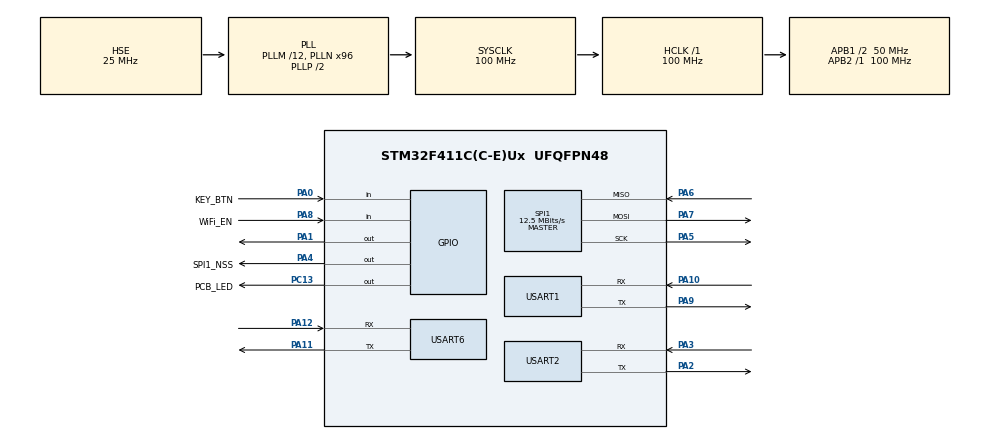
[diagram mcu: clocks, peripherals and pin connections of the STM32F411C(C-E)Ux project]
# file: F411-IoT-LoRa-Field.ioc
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Mcu.Family=STM32F4
Mcu.Name=STM32F411C(C-E)Ux
Mcu.Package=UFQFPN48
NVIC.PriorityGroup=NVIC_PRIORITYGROUP_4
NVIC.TIM2_IRQn=true\:0\:0\:false\:false\:true\:true\:true\:true
NVIC.TIM3_IRQn=true\:0\:0\:false\:false\:true\:true\:true\:true
NVIC.USART1_IRQn=true\:0\:0\:false\:false\:true\:true\:true\:true
NVIC.USART2_IRQn=true\:0\:0\:false\:false\:true\:true\:true\:true
PA0-WKUP.GPIO_Label=KEY_BTN
PA0-WKUP.Signal=GPIO_Input
PA1.GPIO_Speed=GPIO_SPEED_FREQ_VERY_HIGH
PA1.Signal=GPIO_Output
PA10.Mode=Asynchronous
PA10.Signal=USART1_RX
PA11.Mode=Asynchronous
PA11.Signal=USART6_TX
PA12.Mode=Asynchronous
PA12.Signal=USART6_RX
PA13.Mode=Trace_Asynchronous_SW
PA13.Signal=SYS_JTMS-SWDIO
PA14.Mode=Trace_Asynchronous_SW
PA14.Signal=SYS_JTCK-SWCLK
PA2.Mode=Asynchronous
PA2.Signal=USART2_TX
PA3.Mode=Asynchronous
PA3.Signal=USART2_RX
PA4.GPIO_Label=SPI1_NSS
PA4.GPIO_Speed=GPIO_SPEED_FREQ_VERY_HIGH
PA4.PinState=GPIO_PIN_SET
PA4.Signal=GPIO_Output
PA5.Mode=Full_Duplex_Master
PA5.Signal=SPI1_SCK
PA6.Mode=Full_Duplex_Master
PA6.Signal=SPI1_MISO
PA7.Mode=Full_Duplex_Master
PA7.Signal=SPI1_MOSI
PA8.GPIO_Label=WiFi_EN
PA8.Signal=GPIO_Input
PA9.Mode=Asynchronous
PA9.Signal=USART1_TX
PB3.Mode=Trace_Asynchronous_SW
PB3.Signal=SYS_JTDO-SWO
PC13-ANTI_TAMP.GPIO_Label=PCB_LED
PC13-ANTI_TAMP.GPIO_ModeDefaultOutputPP=GPIO_MODE_OUTPUT_PP
PC13-ANTI_TAMP.GPIO_PuPd=GPIO_NOPULL
PC13-ANTI_TAMP.Signal=GPIO_Output
PC14-OSC32_IN.Mode=LSE-External-Oscillator
PC14-OSC32_IN.Signal=RCC_OSC32_IN
PC15-OSC32_OUT.Mode=LSE-External-Oscillator
PC15-OSC32_OUT.Signal=RCC_OSC32_OUT
PH0\ -\ OSC_IN.Mode=HSE-External-Oscillator
PH0\ -\ OSC_IN.Signal=RCC_OSC_IN
PH1\ -\ OSC_OUT.Mode=HSE-External-Oscillator
PH1\ -\ OSC_OUT.Signal=RCC_OSC_OUT
ProjectManager.HeapSize=0x200
ProjectManager.StackSize=0x400
ProjectManager.TargetToolchain=STM32CubeIDE
RCC.48MHZClocksFreq_Value=50000000
RCC.AHBFreq_Value=100000000
RCC.APB1CLKDivider=RCC_HCLK_DIV2
RCC.APB1Freq_Value=50000000
RCC.APB1TimFreq_Value=100000000
RCC.APB2Freq_Value=100000000
RCC.APB2TimFreq_Value=100000000
RCC.CortexFreq_Value=100000000
RCC.HCLKFreq_Value=100000000
RCC.HSE_VALUE=25000000
RCC.HSI_VALUE=16000000
RCC.PLLM=12
RCC.PLLN=96
RCC.PLLSourceVirtual=RCC_PLLSOURCE_HSE
RCC.SYSCLKFreq_VALUE=100000000
RCC.SYSCLKSource=RCC_SYSCLKSOURCE_PLLCLK
RCC.VCOOutputFreq_Value=200000000
SPI1.BaudRatePrescaler=SPI_BAUDRATEPRESCALER_8
SPI1.CalculateBaudRate=12.5 MBits/s
SPI1.Direction=SPI_DIRECTION_2LINES
SPI1.Mode=SPI_MODE_MASTER
SPI1.VirtualType=VM_MASTER
TIM2.AutoReloadPreload=TIM_AUTORELOAD_PRELOAD_ENABLE
TIM2.Channel-Output\ Compare1\ No\ Output=TIM_CHANNEL_1
TIM2.OCMode_1=TIM_OCMODE_INACTIVE
TIM2.Period=100
TIM2.Prescaler=100
TIM3.AutoReloadPreload=TIM_AUTORELOAD_PRELOAD_ENABLE
TIM3.Channel-Output\ Compare1\ No\ Output=TIM_CHANNEL_1
TIM3.OCMode_1=TIM_OCMODE_INACTIVE
TIM3.Period=150
TIM3.Prescaler=100
USART1.VirtualMode=VM_ASYNC
USART2.VirtualMode=VM_ASYNC
USART6.VirtualMode=VM_ASYNC
VP_TIM2_VS_ClockSourceINT.Mode=Internal
VP_TIM2_VS_OPM.Mode=OPM_bit
VP_TIM2_VS_no_output1.Mode=Output Compare1 No Output
VP_TIM3_VS_ClockSourceINT.Mode=Internal
VP_TIM3_VS_OPM.Mode=OPM_bit
VP_TIM3_VS_no_output1.Mode=Output Compare1 No Output
board=custom

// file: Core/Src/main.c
/* USER CODE BEGIN Header */
/**
  ******************************************************************************
  * @file           : main.c
  * @brief          : Main program body
  ******************************************************************************
  * @attention
  *
  * Copyright (c) 2022 STMicroelectronics.
  * All rights reserved.
  *
  * This software is licensed under terms that can be found in the LICENSE file
  * in the root directory of this software component.
  * If no LICENSE file comes with this software, it is provided AS-IS.
  *
  ******************************************************************************
  */
/* USER CODE END Header */
#include "main.h"

/* USER CODE BEGIN Includes */
#include "ESP8266_Chelo.h"
#include "ModBUS_Chelo.h"
#include "STR_Chelo.h"
#include "ETH_W5100.h"
#include "string.h"
#include "stdio.h"
#include "RYLR896.h"
/* USER CODE END Includes */

/* USER CODE BEGIN PTD */
#define TOK 1
#define FIND 0
#define SERVIDOR 1
#define CLIENTE 0
/* USER CODE END PTD */

/* USER CODE BEGIN PM */
#define ITM_Port32(n)   (*((volatile unsigned long *)(0xE0000000+4*n)))
/* USER CODE END PM */

SPI_HandleTypeDef hspi1;
TIM_HandleTypeDef htim2;
TIM_HandleTypeDef htim3;
UART_HandleTypeDef huart1;
UART_HandleTypeDef huart2;
UART_HandleTypeDef huart6;

/* USER CODE BEGIN PV */

struct LoRa lr;
struct MBUS mb_eth;			// Instancia Ethernet
struct MBUS mb_wf;		// Instancia Wi-Fi
struct W5100_SPI ETH; // Instancia de la comunicación Ethernet

uint8_t		decimal[17],
			spi_Data[64],
			spi_no_debug=0,
			EN_UART1_TMR=0,
			EN_UART2_TMR=0,
			EN_USART1_TMR=0,
			FLAG_TIMEOUT=0,
			FLAG_UART1=0,
			FLAG_UART2=0,
			SPI_READ_EN=0,
			UART1_DBG_EN=0,
			UART2_DBG_EN=0,
			error=0;

uint16_t	S0_get_size = 0,
			tx_mem_pointer=0,
			rx_mem_pointer=0,
			send_size=0;

uint32_t 	REG[254],		//Registros para ver ModBUS
	     	ms_ticks=0,
			min_ticks=0;

char		UART_RX_vect[512],
			UART2_RX_vect[512],
			UART_RX_vect_hld[512],
			CMP_VECT[]="\0",
			UART_RX_byte[2],
			UART2_RX_byte[2];

int 		UART_RX_items=0,
			UART2_RX_items=0,
			MB_TOUT_ticks=0,
			uart1pass=0,
			USART1_ticks=0,
			FLAG_USART1=0,
			chr_pos=0,
			items_rx=0,
			UART_RX_pos=0;
			UART2_RX_pos=0,
			ETH_DBG_EN=0;

enum {
		TEPELCO,
		TEST_1,
		TEST_2
};
/* USER CODE END PV */

void SystemClock_Config(void);
static void MX_GPIO_Init(void);
static void MX_SPI1_Init(void);
static void MX_USART1_UART_Init(void);
static void MX_USART2_UART_Init(void);
static void MX_USART6_UART_Init(void);
static void MX_TIM2_Init(void);
static void MX_TIM3_Init(void);
/* USER CODE BEGIN PFP */
	//uint8_t ESP8266_HW_Init(UART_HandleTypeDef *);
	void ESP8266_HW_Reset(void);
	void Actualizar_RXdata(int );

/* USER CODE END PFP */

int main(void)
{
  /* USER CODE BEGIN 1 */
	//----------------------- ETHERNET W5100 Environment-------------------------//
		ETH_DBG_EN=0;
	//	GATEWAY ADDRESS
		ETH.GAR[0]=192;
		ETH.GAR[1]=168;
		ETH.GAR[2]=0;
		ETH.GAR[3]=1;
	//	SUBNET MASK
		ETH.SUBR[0]=255;
		ETH.SUBR[1]=255;
		ETH.SUBR[2]=255;
		ETH.SUBR[3]=0;
	//	MAC ADDRESS
		ETH.SHAR[0]=0x00;
		ETH.SHAR[1]=0x08;
		ETH.SHAR[2]=0xDC;
		ETH.SHAR[3]=0x00;
		ETH.SHAR[4]=0x00;
		ETH.SHAR[5]=0x01;

	//	IP ADDRESS
		ETH.SIPR[0]=192;
		ETH.SIPR[1]=168;
		ETH.SIPR[2]=0;
		ETH.SIPR[3]=6,//ETH.SIPR[3]=34,
	//  Socket RX memory
		ETH.RMSR=0x55;
	//  Socket TX memory

		ETH.TMSR=0x55;
	//  S0 Port Number
		ETH.S0_PORT[0]=0x01;
		ETH.S0_PORT[1]=0xF6;
	//	S0 Client IP ADDRESS
		ETH.S0_DIPR[0]=192;
		ETH.S0_DIPR[1]=168;
		ETH.S0_DIPR[2]=0;
		ETH.S0_DIPR[3]=3;
	//	S0 Client IP ADDRESS
		ETH.S0_DPORT[0]=0x01;
		ETH.S0_DPORT[1]=0xF6;

		ETH.gS0_RX_BASE = 0x6000;
		ETH.gS0_RX_MASK = 0x07FF;
		ETH.gS1_RX_BASE = 0x6800;
		ETH.gS1_RX_MASK = 0x07FF;
		ETH.gS2_RX_BASE = 0x7000;
		ETH.gS2_RX_MASK = 0x07FF;
		ETH.gS3_RX_BASE = 0x7800;
		ETH.gS3_RX_MASK = 0x07FF;
		ETH.gS0_TX_BASE = 0x4000;
		ETH.gS0_TX_MASK = 0x07FF;
		ETH.gS1_TX_BASE = 0x4800;
		ETH.gS1_TX_MASK = 0x07FF;
		ETH.gS2_TX_BASE = 0x5000;
		ETH.gS2_TX_MASK = 0x07FF;
		ETH.gS3_TX_BASE = 0x5800;
		ETH.gS3_TX_MASK = 0x07FF;

		ETH.S0_ENserver = 0;			//Actúa como servidor S0_ENserver=1 o cliente S0_ENserver=0

		//----------------------- ETHERNET W5100 Environment-------------------------//
	  //----------------------- LoRa ------------------------//

	  //----------------------- LoRa ------------------------//

	  //----------------------- WIFI ------------------------//

		spi_no_debug=1;
		ETH.NSS_PORT=GPIOA;
		ETH.NSS_PIN=GPIO_PIN_4;
		ETH.SPI= &hspi1;

		// ----------- FIN - Seteo de módulo Ethernet W5100 ----------- //

		 //----------------------- WIFI ------------------------//
			decimal[0]=1;
			decimal[1]=1;
			decimal[2]=1;
			decimal[3]=0;
			decimal[4]=1;
			decimal[5]=1;
			decimal[6]=1;
			decimal[7]=1;
			decimal[8]=1;
			decimal[9]=1;
			decimal[10]=1;
			decimal[11]=1;
			decimal[12]=1;
			decimal[13]=1;
			decimal[14]=1;
			decimal[15]=1;
			decimal[16]=1;
	 //----------------------- WIFI ------------------------//

	 //---------------------- ModBUS -----------------------//

		ModBUS_Config(&mb_eth);		//ETHERNET como cliente TCP envía  ModBUS
		mb_eth._mode = CLIENTE;
		ModBUS_Config(&mb_wf);	//WIFI como servidor TCP, recibe comadno ModBUS
		mb_wf._mode = CLIENTE;
		ModBUS_F03_Assign(&mb_wf,3,0xAA55);

	 //---------------------- ModBUS -----------------------//
  /* USER CODE END 1 */

  /* MCU Configuration--------------------------------------------------------*/

  /* Reset of all peripherals, Initializes the Flash interface and the Systick. */
  HAL_Init();

  /* Configure the system clock */
  SystemClock_Config();

  /* USER CODE BEGIN SysInit */
  SysTick_Config(SystemCoreClock/1000);
  /* USER CODE END SysInit */

  /* Initialize all configured peripherals */
  MX_GPIO_Init();
  MX_SPI1_Init();
  MX_USART1_UART_Init();
  MX_USART2_UART_Init();
  MX_USART6_UART_Init();
  MX_TIM2_Init();
  MX_TIM3_Init();
  /* USER CODE BEGIN 2 */

  HAL_GPIO_WritePin(GPIOA, GPIO_PIN_1, 0);
  ITM0_Write("\r\n INICIO OK\r\n",strlen("\r\n INICIO OK\r\n"));
     HAL_UART_Receive_IT(&huart1,(uint8_t *)UART_RX_byte,1);
     HAL_UART_Receive_IT(&huart2,(uint8_t *)UART2_RX_byte,1);
     if (ETH_DBG_EN == 1)ITM0_Write("\r\n SET-UP W5100 \r\n",strlen("\r\n SET-UP W5100 \r\n"));

   	 ETH.operacion=SPI_WRITE;
   	 ETH.TX[1]= 0;
   	 ETH.TX[2]= 1;
   	 ETH.TX[3]= 192;

   	 eth_init(&ETH);

   	 eth_socket_init(&ETH,0);

   SPI_READ_EN=1;
   ETH.operacion=SPI_READ;
   ETH.TX[1]= 0;
   ETH.TX[2]= 1;
   ETH.TX[3]= 0;
     HAL_Delay(1000);
     LoRa_set_sndTIMER(&lr,5000); //Inicio el ciclo de envíos

  /* USER CODE END 2 */

  /* Infinite loop */
  while (1)
  {

    /* USER CODE BEGIN 3 */

// AGREGAR TIMER EN MS TICKS PARA HABILITAR ESTADO Y CUENTA TODOS EN EL STRUCT
	  		if((FLAG_UART2 == 1)||(lr.tmr_dly_ON==1))  //Evento de dato recibido LoRA debo verificar que es
	  		{
	  			if(FLAG_UART2==1)
	  				{
	  				FLAG_UART2=0;
	  				LoRa_decode(&lr);
	  				}

	  			if(lr.tmr_dly_ON==1)
	  				{
	  					lr.tmr_dly_ON=0;
	  					LoRa_set_sndTIMER(&lr,5000);  //Vuelvo a enviar cada 5 seg
						lr.dest_address[0]='\0';
						lr.txbuff[0]='\0';

		  				lr.estado=_SENT;

		  				//Define address to send
		  				strncat(lr.dest_address,"1",1);
		  				//generate data to send
		  				char data[6];
		  				int n=0;
		  				while(n<16)//while(n<11)
		  					{
			  					data[0]='\0';
			  					//itoa(ModBUS_F03_Read(&mb_eth,n),data,10);
			  					FTOA(ModBUS_F03_Read(&mb_eth,n),data,decimal[n]);
								strncat(lr.txbuff,data,strlen(data));
								strncat(lr.txbuff,";",1);
								n++;
		  					}
		  				lr.txitems=strlen(lr.txbuff);
			  			error=LoRa_Send(&lr,&huart2);
	  				}

	  		}

  }
  /* USER CODE END 3 */
}

void SystemClock_Config(void)
{
  RCC_OscInitTypeDef RCC_OscInitStruct = {0};
  RCC_ClkInitTypeDef RCC_ClkInitStruct = {0};

  /** Configure the main internal regulator output voltage
  */
  __HAL_RCC_PWR_CLK_ENABLE();
  __HAL_PWR_VOLTAGESCALING_CONFIG(PWR_REGULATOR_VOLTAGE_SCALE1);

  /** Initializes the RCC Oscillators according to the specified parameters
  * in the RCC_OscInitTypeDef structure.
  */
  RCC_OscInitStruct.OscillatorType = RCC_OSCILLATORTYPE_HSE;
  RCC_OscInitStruct.HSEState = RCC_HSE_ON;
  RCC_OscInitStruct.PLL.PLLState = RCC_PLL_ON;
  RCC_OscInitStruct.PLL.PLLSource = RCC_PLLSOURCE_HSE;
  RCC_OscInitStruct.PLL.PLLM = 12;
  RCC_OscInitStruct.PLL.PLLN = 96;
  RCC_OscInitStruct.PLL.PLLP = RCC_PLLP_DIV2;
  RCC_OscInitStruct.PLL.PLLQ = 4;
  if (HAL_RCC_OscConfig(&RCC_OscInitStruct) != HAL_OK)
  {
    Error_Handler();
  }

  /** Initializes the CPU, AHB and APB buses clocks
  */
  RCC_ClkInitStruct.ClockType = RCC_CLOCKTYPE_HCLK|RCC_CLOCKTYPE_SYSCLK
                              |RCC_CLOCKTYPE_PCLK1|RCC_CLOCKTYPE_PCLK2;
  RCC_ClkInitStruct.SYSCLKSource = RCC_SYSCLKSOURCE_PLLCLK;
  RCC_ClkInitStruct.AHBCLKDivider = RCC_SYSCLK_DIV1;
  RCC_ClkInitStruct.APB1CLKDivider = RCC_HCLK_DIV2;
  RCC_ClkInitStruct.APB2CLKDivider = RCC_HCLK_DIV1;

  if (HAL_RCC_ClockConfig(&RCC_ClkInitStruct, FLASH_LATENCY_3) != HAL_OK)
  {
    Error_Handler();
  }
}

static void MX_SPI1_Init(void)
{

  /* SPI1 parameter configuration*/
  hspi1.Instance = SPI1;
  hspi1.Init.Mode = SPI_MODE_MASTER;
  hspi1.Init.Direction = SPI_DIRECTION_2LINES;
  hspi1.Init.DataSize = SPI_DATASIZE_8BIT;
  hspi1.Init.CLKPolarity = SPI_POLARITY_LOW;
  hspi1.Init.CLKPhase = SPI_PHASE_1EDGE;
  hspi1.Init.NSS = SPI_NSS_SOFT;
  hspi1.Init.BaudRatePrescaler = SPI_BAUDRATEPRESCALER_8;
  hspi1.Init.FirstBit = SPI_FIRSTBIT_MSB;
  hspi1.Init.TIMode = SPI_TIMODE_DISABLE;
  hspi1.Init.CRCCalculation = SPI_CRCCALCULATION_DISABLE;
  hspi1.Init.CRCPolynomial = 10;
  if (HAL_SPI_Init(&hspi1) != HAL_OK)
  {
    Error_Handler();
  }

}

static void MX_TIM2_Init(void)
{

  TIM_ClockConfigTypeDef sClockSourceConfig = {0};
  TIM_MasterConfigTypeDef sMasterConfig = {0};
  TIM_OC_InitTypeDef sConfigOC = {0};

  htim2.Instance = TIM2;
  htim2.Init.Prescaler = 100;
  htim2.Init.CounterMode = TIM_COUNTERMODE_UP;
  htim2.Init.Period = 100;
  htim2.Init.ClockDivision = TIM_CLOCKDIVISION_DIV1;
  htim2.Init.AutoReloadPreload = TIM_AUTORELOAD_PRELOAD_ENABLE;
  if (HAL_TIM_Base_Init(&htim2) != HAL_OK)
  {
    Error_Handler();
  }
  sClockSourceConfig.ClockSource = TIM_CLOCKSOURCE_INTERNAL;
  if (HAL_TIM_ConfigClockSource(&htim2, &sClockSourceConfig) != HAL_OK)
  {
    Error_Handler();
  }
  if (HAL_TIM_OC_Init(&htim2) != HAL_OK)
  {
    Error_Handler();
  }
  if (HAL_TIM_OnePulse_Init(&htim2, TIM_OPMODE_SINGLE) != HAL_OK)
  {
    Error_Handler();
  }
  sMasterConfig.MasterOutputTrigger = TIM_TRGO_RESET;
  sMasterConfig.MasterSlaveMode = TIM_MASTERSLAVEMODE_DISABLE;
  if (HAL_TIMEx_MasterConfigSynchronization(&htim2, &sMasterConfig) != HAL_OK)
  {
    Error_Handler();
  }
  sConfigOC.OCMode = TIM_OCMODE_INACTIVE;
  sConfigOC.Pulse = 0;
  sConfigOC.OCPolarity = TIM_OCPOLARITY_HIGH;
  sConfigOC.OCFastMode = TIM_OCFAST_DISABLE;
  if (HAL_TIM_OC_ConfigChannel(&htim2, &sConfigOC, TIM_CHANNEL_1) != HAL_OK)
  {
    Error_Handler();
  }

}

static void MX_TIM3_Init(void)
{

  TIM_ClockConfigTypeDef sClockSourceConfig = {0};
  TIM_MasterConfigTypeDef sMasterConfig = {0};
  TIM_OC_InitTypeDef sConfigOC = {0};

  htim3.Instance = TIM3;
  htim3.Init.Prescaler = 100;
  htim3.Init.CounterMode = TIM_COUNTERMODE_UP;
  htim3.Init.Period = 150;
  htim3.Init.ClockDivision = TIM_CLOCKDIVISION_DIV1;
  htim3.Init.AutoReloadPreload = TIM_AUTORELOAD_PRELOAD_ENABLE;
  if (HAL_TIM_Base_Init(&htim3) != HAL_OK)
  {
    Error_Handler();
  }
  sClockSourceConfig.ClockSource = TIM_CLOCKSOURCE_INTERNAL;
  if (HAL_TIM_ConfigClockSource(&htim3, &sClockSourceConfig) != HAL_OK)
  {
    Error_Handler();
  }
  if (HAL_TIM_OC_Init(&htim3) != HAL_OK)
  {
    Error_Handler();
  }
  if (HAL_TIM_OnePulse_Init(&htim3, TIM_OPMODE_SINGLE) != HAL_OK)
  {
    Error_Handler();
  }
  sMasterConfig.MasterOutputTrigger = TIM_TRGO_RESET;
  sMasterConfig.MasterSlaveMode = TIM_MASTERSLAVEMODE_DISABLE;
  if (HAL_TIMEx_MasterConfigSynchronization(&htim3, &sMasterConfig) != HAL_OK)
  {
    Error_Handler();
  }
  sConfigOC.OCMode = TIM_OCMODE_INACTIVE;
  sConfigOC.Pulse = 0;
  sConfigOC.OCPolarity = TIM_OCPOLARITY_HIGH;
  sConfigOC.OCFastMode = TIM_OCFAST_DISABLE;
  if (HAL_TIM_OC_ConfigChannel(&htim3, &sConfigOC, TIM_CHANNEL_1) != HAL_OK)
  {
    Error_Handler();
  }

}

static void MX_USART1_UART_Init(void)
{

  huart1.Instance = USART1;
  huart1.Init.BaudRate = 115200;
  huart1.Init.WordLength = UART_WORDLENGTH_8B;
  huart1.Init.StopBits = UART_STOPBITS_1;
  huart1.Init.Parity = UART_PARITY_NONE;
  huart1.Init.Mode = UART_MODE_TX_RX;
  huart1.Init.HwFlowCtl = UART_HWCONTROL_NONE;
  huart1.Init.OverSampling = UART_OVERSAMPLING_16;
  if (HAL_UART_Init(&huart1) != HAL_OK)
  {
    Error_Handler();
  }

}

static void MX_USART2_UART_Init(void)
{

  huart2.Instance = USART2;
  huart2.Init.BaudRate = 115200;
  huart2.Init.WordLength = UART_WORDLENGTH_8B;
  huart2.Init.StopBits = UART_STOPBITS_1;
  huart2.Init.Parity = UART_PARITY_NONE;
  huart2.Init.Mode = UART_MODE_TX_RX;
  huart2.Init.HwFlowCtl = UART_HWCONTROL_NONE;
  huart2.Init.OverSampling = UART_OVERSAMPLING_16;
  if (HAL_UART_Init(&huart2) != HAL_OK)
  {
    Error_Handler();
  }

}

static void MX_USART6_UART_Init(void)
{

  huart6.Instance = USART6;
  huart6.Init.BaudRate = 115200;
  huart6.Init.WordLength = UART_WORDLENGTH_8B;
  huart6.Init.StopBits = UART_STOPBITS_1;
  huart6.Init.Parity = UART_PARITY_NONE;
  huart6.Init.Mode = UART_MODE_TX_RX;
  huart6.Init.HwFlowCtl = UART_HWCONTROL_NONE;
  huart6.Init.OverSampling = UART_OVERSAMPLING_16;
  if (HAL_UART_Init(&huart6) != HAL_OK)
  {
    Error_Handler();
  }

}

static void MX_GPIO_Init(void)
{
  GPIO_InitTypeDef GPIO_InitStruct = {0};

  /* GPIO Ports Clock Enable */
  __HAL_RCC_GPIOC_CLK_ENABLE();
  __HAL_RCC_GPIOH_CLK_ENABLE();
  __HAL_RCC_GPIOA_CLK_ENABLE();
  __HAL_RCC_GPIOB_CLK_ENABLE();

  /*Configure GPIO pin Output Level */
  HAL_GPIO_WritePin(PCB_LED_GPIO_Port, PCB_LED_Pin, GPIO_PIN_RESET);

  /*Configure GPIO pin Output Level */
  HAL_GPIO_WritePin(GPIOA, GPIO_PIN_1, GPIO_PIN_RESET);

  /*Configure GPIO pin Output Level */
  HAL_GPIO_WritePin(SPI1_NSS_GPIO_Port, SPI1_NSS_Pin, GPIO_PIN_SET);

  /*Configure GPIO pin : PCB_LED_Pin */
  GPIO_InitStruct.Pin = PCB_LED_Pin;
  GPIO_InitStruct.Mode = GPIO_MODE_OUTPUT_PP;
  GPIO_InitStruct.Pull = GPIO_NOPULL;
  GPIO_InitStruct.Speed = GPIO_SPEED_FREQ_LOW;
  HAL_GPIO_Init(PCB_LED_GPIO_Port, &GPIO_InitStruct);

  /*Configure GPIO pins : KEY_BTN_Pin WiFi_EN_Pin */
  GPIO_InitStruct.Pin = KEY_BTN_Pin|WiFi_EN_Pin;
  GPIO_InitStruct.Mode = GPIO_MODE_INPUT;
  GPIO_InitStruct.Pull = GPIO_NOPULL;
  HAL_GPIO_Init(GPIOA, &GPIO_InitStruct);

  /*Configure GPIO pins : PA1 SPI1_NSS_Pin */
  GPIO_InitStruct.Pin = GPIO_PIN_1|SPI1_NSS_Pin;
  GPIO_InitStruct.Mode = GPIO_MODE_OUTPUT_PP;
  GPIO_InitStruct.Pull = GPIO_NOPULL;
  GPIO_InitStruct.Speed = GPIO_SPEED_FREQ_VERY_HIGH;
  HAL_GPIO_Init(GPIOA, &GPIO_InitStruct);

}

/* USER CODE BEGIN 4 */

int ITM0_Write( char *ptr, int len)
{
 int DataIdx;

  for(DataIdx=0; DataIdx<len; DataIdx++)
  {
    ITM_SendChar(*ptr++);
  }
  return len;
}

void SysTick_Handler(void)
{
  /* USER CODE BEGIN SysTick_IRQn 0 */

	ms_ticks++;	//100 ms

	if(mb_eth._w_answer) MB_TOUT_ticks++;
	if ( mb_eth._w_answer && (mb_eth._timeout < MB_TOUT_ticks))
		{
			mb_eth._w_answer=0;
			MB_TOUT_ticks=0;
		}

// ENVIO DATOS LoRa ---------------------------------------------------------------//

	if(lr.tmr_dly_en==1)
	{
		lr.tmr_dlyCNT++;
		if(lr.tmr_dlyCNT > lr.tmr_dly)
		{
			lr.tmr_dly_ON=1;
			lr.tmr_dly_en=0;
		}
	}
// ENVIO DATOS LoRa ---------------------------------------------------------------//

/**********************[ INICIO - EHTERNET WDG ] **********************/

	if(ETH.S0_status == 0)
	{
		ETH.ETH_WDG++;
		if (ETH.ETH_WDG>=64000)
		{
			ETH.ETH_WDG=64000;
		}
	}

/**********************[ FIN 	- EHTERNET WDG ] **********************/

if (ms_ticks==100)//(ms_ticks==250)//(ms_ticks==50)
  {
	  ms_ticks=0;
	  min_ticks++;
	  HAL_GPIO_TogglePin(GPIOC, GPIO_PIN_13);
	  if(spi_no_debug)
	  	  {
	  if(SPI_READ_EN)
	  {
	     ETH.S0_status=eth_rd_SOCKET_STAT(&ETH,0);

		  switch(ETH.S0_status)	//Check Socket status
	     {
			 case SOCK_CLOSED :
				 {
					 if (ETH_DBG_EN) ITM0_Write("\r\nS0_SOCK_CLOSED \r\n",strlen("\r\nS0_SOCK_CLOSED \r\n"));
					eth_wr_SOCKET_CMD(&ETH, 0 ,OPEN );
					 // Si no tengo intento de ARP por 5 segundos vuelvo a inicializar
					 if(ETH.ETH_WDG>=5000)
					 {
						 eth_init(&ETH);

						 eth_socket_init(&ETH,0);
					 }

				 }
			 break;
			 case  SOCK_INIT :
				 {
					 if(ETH.S0_ENserver == 1)
					 {
						 if (ETH_DBG_EN) ITM0_Write("\r\nS0_SOCK_INIT \r\n",strlen("\r\nS0_SOCK_INIT \r\n"));
							eth_wr_SOCKET_CMD(&ETH, 0, LISTEN );
							ETH.ETH_WDG=0;
					 }
					 else
					 {
						 	eth_wr_SOCKET_CMD(&ETH,0, CONNECT);																				//only for server
						 	if (ETH_DBG_EN)ITM0_Write("\r\nETH-W5100-CONNECT\r\n",strlen("\r\nETH-W5100-CONNECT\r\n"));
						 	ETH.ETH_WDG=0;
					 }

				 }
			 break;
			 case SOCK_LISTEN :
				 {
					 if (ETH_DBG_EN)ITM0_Write("\r\nS0_SOCK_LISTEN \r\n",strlen("\r\nS0_SOCK_LISTEN \r\n"));
					 ETH.ETH_WDG=0;
				 }
			 break;
			 case SOCK_SYNSENT :
				 {
					 if (ETH_DBG_EN)ITM0_Write("\r\nS0_SOCK_SYNSENT \r\n",strlen("\r\nS0_SOCK_SYNSENT \r\n"));
					 ETH.ETH_WDG=0;
				 }
			 break;
			 case SOCK_SYNRECV :
				 {
					 if (ETH_DBG_EN)ITM0_Write("\r\nS0_SOCK_SYNRECV \r\n",strlen("\r\nS0_SOCK_SYNRECV \r\n"));
					 ETH.ETH_WDG=0;
				 }
			 break;
			 case SOCK_ESTABLISHED :
				 {
					 if (ETH_DBG_EN==1) ITM0_Write("\r\nS0_SOCK_ESTABLISHED \r\n",strlen("\r\nS0_SOCK_ESTABLISHED \r\n"));
					 ETH.ETH_WDG=0;

					if (ETH.S0_ENserver == 1)  // Si el puerto Ethernet actúa como server (Recibe datos conexión mas pedido mbus
					{

							S0_get_size = SPI_ETH_REG(&ETH, S0_RX_SZ_ADDR_BASEHH,S0_RX_SZ_ADDR_BASEHL ,SPI_READ, spi_Data,2);
							if(S0_get_size != 0x00)
							{
								eth_rd_SOCKET_DATA(&ETH,0,&rx_mem_pointer,S0_get_size); // read socket data
								SPI_ETH_WR_REG_16(&ETH,S0_RX_RD0,rx_mem_pointer );		// write rx memory pointer
								eth_wr_SOCKET_CMD(&ETH,0,RECV);							// write command to execute
								while(eth_rd_SOCKET_CMD(&ETH,0))						// wait until end of command execution
								{}

								CopiaVector(mb_eth._MBUS_RCVD, ETH.data, S0_get_size, 0, 0 );
								mb_eth._n_MBUS_RCVD=S0_get_size;

								if(S0_get_size > 0)	{ ETH.S0_data_available=1;}					//Flag data received

								if(ModBUS_Check(mb_eth._MBUS_RCVD, mb_eth._n_MBUS_RCVD))		//Ckecks ModBUS type data
								{
									ModBUS(&mb_eth);										//ModBUS protocol execution
									CopiaVector(ETH.data, mb_eth._MBUS_2SND, mb_eth._n_MBUS_2SND, 0, 0);
								}
								else
								{
									if (ETH_DBG_EN) ITM0_Write("\r\n NO MBUS \r\n",strlen("\r\n\r\n NO MBUS \r\n\r\n"));
								}

								send_size=mb_eth._n_MBUS_2SND;  //ModBUS data qty

								eth_wr_SOCKET_DATA(&ETH,0, &tx_mem_pointer, send_size);	// write socket data
								SPI_ETH_WR_REG_16(&ETH,0x424,tx_mem_pointer);			// write tx memory pointer
								eth_wr_SOCKET_CMD(&ETH,0,SEND);							// write command to execute
								while(eth_rd_SOCKET_CMD(&ETH,0))						// wait until end of command execution
								{}

							}
					}
					else	// Puerto ethernet labura como esclavo, se conecta al server para pedir datos
					{

						if (mb_eth._w_answer==0)
						{
							//Si ya envié vuelvo a enviar

							ETH.data[0]=0x00;
							ETH.data[1]=0x00;
							ETH.data[2]=0x00;
							ETH.data[3]=0x00;
							ETH.data[4]=0x00;
							ETH.data[5]=0x06;
							ETH.data[6]=0x01;
							ETH.data[7]=0x03;
							ETH.data[8]=0x00;
							ETH.data[9]=0x00;
							ETH.data[10]=0x00;
							ETH.data[11]=0x0A;
							send_size=12;

							ModBUS_F03_Request(&mb_eth,0,15);
							CopiaVector(ETH.data, mb_eth._MBUS_2SND, 12, 0, 0 );

							eth_wr_SOCKET_DATA(&ETH,0, &tx_mem_pointer, send_size);	// write socket data
							SPI_ETH_WR_REG_16(&ETH,0x424,tx_mem_pointer);			// write tx memory pointer
							eth_wr_SOCKET_CMD(&ETH,0,SEND);							// write command to execute
							while(eth_rd_SOCKET_CMD(&ETH,0))						// wait until end of command execution
							{}
							mb_eth._w_answer=1;	// Waiting answer flag
							MB_TOUT_ticks=0;	// restart counting
							if (ETH_DBG_EN==1) ITM0_Write("\r\n SENT MBUS REQ \r\n",strlen("\r\n\r\n SENT MBUS REQ \r\n\r\n"));
						}
						else
						{
						S0_get_size = SPI_ETH_REG(&ETH, S0_RX_SZ_ADDR_BASEHH,S0_RX_SZ_ADDR_BASEHL ,SPI_READ, spi_Data,2);
							if(S0_get_size != 0x00)
							{
								eth_rd_SOCKET_DATA(&ETH,0,&rx_mem_pointer,S0_get_size); // read socket data
								SPI_ETH_WR_REG_16(&ETH,S0_RX_RD0,rx_mem_pointer );		// write rx memory pointer
								eth_wr_SOCKET_CMD(&ETH,0,RECV);							// write command to execute
								while(eth_rd_SOCKET_CMD(&ETH,0))						// wait until end of command execution
								{}

								CopiaVector(mb_eth._MBUS_RCVD, ETH.data, S0_get_size, 0, 0 );
								mb_eth._n_MBUS_RCVD=S0_get_size;

								if(S0_get_size > 0)	{ ETH.S0_data_available=1;}

								if(ModBUS_Check(mb_eth._MBUS_RCVD, mb_eth._n_MBUS_RCVD))		//Ckecks ModBUS type data
									{
										mb_eth._w_answer=0;  									//Si el mensaje recibido ya es modbus digo que ya recibi
										MB_TOUT_ticks=0;
										ModBUS(&mb_eth);										//ModBUS protocol execution
										CopiaVector(ETH.swap, mb_eth._MBUS_RCVD, mb_eth._n_MBUS_RCVD, 0, 0);
										CopiaVector(mb_wf._Holding_Registers, mb_eth._Holding_Registers, 64, 0, 0);
										if (ETH_DBG_EN==1) ITM0_Write("\r\n RCVD MBUS REQ \r\n",strlen("\r\n\r\n RCVD MBUS REQ \r\n\r\n"));
									}
									else
										{
										if (ETH_DBG_EN) ITM0_Write("\r\n NO MBUS \r\n",strlen("\r\n\r\n NO MBUS \r\n\r\n"));
										}
							}
						}
					}
				 }
			 break;
			 case SOCK_FIN_WAIT :
				 {
					 if (ETH_DBG_EN) ITM0_Write("\r\nS0_SOCK_FIN_WAIT \r\n",strlen("\r\nS0_SOCK_FIN_WAIT \r\n"));
					 ETH.ETH_WDG=0;
				 }
			 break;
			 case SOCK_CLOSING :
				 {
					 if (ETH_DBG_EN) ITM0_Write("\r\nS0_SOCK_CLOSING \r\n",strlen("\r\nS0_SOCK_CLOSING \r\n"));
					 ETH.ETH_WDG=0;
				 }
			 break;
			 case  SOCK_TIME_WAIT :
				 {
					 if (ETH_DBG_EN) ITM0_Write("\r\nS0_SOCK_TIME_WAIT \r\n",strlen("\r\nS0_SOCK_TIME_WAIT \r\n"));
					eth_wr_SOCKET_CMD(&ETH,0, DISCON );
					while( SPI_ETH_REG(&ETH, S0_CR_ADDR_BASEH,S0_CR_ADDR_BASEL ,SPI_READ, spi_Data,1))
					{}
					ETH.ETH_WDG=0;
				 }
			 break;
			 case SOCK_CLOSE_WAIT :
				 {
					 if (ETH_DBG_EN) ITM0_Write("\r\nS0_SOCK_CLOSE_WAIT \r\n",strlen("\r\nS0_SOCK_CLOSE_WAIT \r\n"));
					eth_wr_SOCKET_CMD(&ETH,0,DISCON );
					while( SPI_ETH_REG(&ETH, S0_CR_ADDR_BASEH,S0_CR_ADDR_BASEL ,SPI_READ, spi_Data,1))
					{}
					ETH.ETH_WDG=0;
				 }
			 break;
			 case SOCK_LAST_ACK :
				 {
					 if (ETH_DBG_EN) ITM0_Write("\r\nS0_SOCK_LAST_ACK \r\n",strlen("\r\nS0_SOCK_LAST_ACK \r\n"));
					 ETH.ETH_WDG=0;
				 }
			 break;
			 case SOCK_UDP :
				 {
					 if (ETH_DBG_EN) ITM0_Write("\r\nS0_SOCK_UDP \r\n",strlen("\r\nS0_SOCK_UDP \r\n"));
					 ETH.ETH_WDG=0;
				 }
			 break;
			 case  SOCK_IPRAW :
				 {
					 if (ETH_DBG_EN) ITM0_Write("\r\nS0_SOCK_IPRAW \r\n",strlen("\r\nS0_SOCK_IPRAW \r\n"));
					 ETH.ETH_WDG=0;
				 }
			 break;
			 case  SOCK_MACRAW :
				 {
					 if (ETH_DBG_EN) ITM0_Write("\r\nS0_SOCK_MACRAW \r\n",strlen("\r\nS0_SOCK_MACRAW \r\n"));
					 ETH.ETH_WDG=0;
				 }
			 break;
			 case SOCK_PPOE :
				 {
					 if (ETH_DBG_EN) ITM0_Write("\r\nS0_SOCK_PPOE \r\n",strlen("\r\nS0_SOCK_PPOE \r\n"));
					 ETH.ETH_WDG=0;
				 }
			 break;

			 default:
				 {

				 }
	     }
	  }
	  }else
	  	  {

		  SPI_ETH(&ETH);
	  	  }
	  if(min_ticks==2)//if(min_ticks==10)
		  {
		  	  min_ticks=0;  /* SETEO CADA 2 min*/
		  }
  }

	if(EN_USART1_TMR==1) USART1_ticks++;

	if(USART1_ticks>=2)//if(USART1_ticks>=10)
	{
		USART1_ticks=0;
		FLAG_USART1=1;
		EN_USART1_TMR=0;
		items_rx=uart1pass;
		uart1pass=0;
	}

  /* USER CODE END SysTick_IRQn 0 */
  HAL_IncTick();
  /* USER CODE BEGIN SysTick_IRQn 1 */

  /* USER CODE END SysTick_IRQn 1 */
}
void HAL_UART_ErrorCallback(UART_HandleTypeDef *ERRUART)

{
	if(ERRUART->Instance==USART1)
	{
		 volatile int aore=0;
		 volatile int bore=0;

		//Al leer los registros de esta forma SR y luego DR se resetean los errores de Framing Noise y Overrun FE NE ORE
		 aore=ERRUART->Instance->SR;
		 bore=ERRUART->Instance->DR;
		 HAL_UART_DeInit(ERRUART);
		 MX_USART1_UART_Init();
		 HAL_UART_Receive_IT(ERRUART,(uint8_t *)UART_RX_byte,1);
	}
	if(ERRUART->Instance==USART2)
	{
		 volatile int aore=0;
		 volatile int bore=0;
		//Al leer los registros de esta forma SR y luego DR se resetean los errores de Framing Noise y Overrun FE NE ORE
			aore=ERRUART->Instance->SR;
			bore=ERRUART->Instance->DR;

		//HAL_UART_Transmit_IT(&huart5,"U4",strlen("U4"));
		 HAL_UART_DeInit(ERRUART);
		 MX_USART2_UART_Init();
		 HAL_UART_Receive_IT(ERRUART,(uint8_t *)UART_RX_byte,1);
	}
}

void HAL_UART_RxCpltCallback(UART_HandleTypeDef *INTSERIE)
{

// WiFi	USART 1 TIMER2
	if(INTSERIE->Instance==USART1)
		 {
			UART_RX_vect[UART_RX_pos]=UART_RX_byte[0];
			UART_RX_pos++;
			if(UART_RX_pos>=512) UART_RX_pos=512;
			HAL_TIM_OC_Start_IT(&htim2, TIM_CHANNEL_1);//HAL_TIM_Base_Start_IT(&htim7);	//Habilito el timer
			TIM2->CNT=1;
			EN_UART1_TMR=1;	//Habilito Timeout de software
			HAL_UART_Receive_IT(INTSERIE,(uint8_t *)UART_RX_byte,1);
		 }
// LoRa USART2 TIMER3
	if(INTSERIE->Instance==USART2)
		 {
			UART2_RX_vect[UART2_RX_pos]=UART2_RX_byte[0];
			UART2_RX_pos++;
			if(UART2_RX_pos>=512) UART2_RX_pos=512;
			HAL_GPIO_WritePin(GPIOA, GPIO_PIN_1, 1);
			HAL_TIM_OC_Start_IT(&htim3, TIM_CHANNEL_1);//HAL_TIM_Base_Start_IT(&htim7);	//Habilito el timer
			TIM3->CNT=1;
			EN_UART2_TMR=1;	//Habilito Timeout de software
			HAL_UART_Receive_IT(INTSERIE,(uint8_t *)UART2_RX_byte,1);
		 }
 }

void HAL_TIM_OC_DelayElapsedCallback(TIM_HandleTypeDef *TIMER)
{
// WiFi	USART 1 TIMER2
		//void HAL_TIM_OC_DelayElapsedCallback(TIM_HandleTypeDef *htim2)
		if(TIMER->Instance==TIM2)
			{
				 HAL_TIM_OC_Stop_IT(TIMER, TIM_CHANNEL_1); //Paro el timer
				 FLAG_UART1=1;
				 EN_UART1_TMR=0;
				 UART_RX_items=UART_RX_pos;
				 UART_RX_pos=0;
				 UART_RX_vect[512]='\0'; //Finalizo el vector a la fuerza ya que recibo hasta 124
				 CopiaVector(UART_RX_vect_hld,UART_RX_vect,UART_RX_items,1,CMP_VECT);
				 HAL_UART_Receive_IT(&huart1,(uint8_t *)UART_RX_byte,1); //Habilito le recepcón de puerto serie al terminar
				 if (UART1_DBG_EN==1)
				 {
					 ITM0_Write((uint8_t *)UART_RX_vect_hld,UART_RX_items);
				 }
		}
// LoRa USART2 TIMER3
		//void HAL_TIM_OC_DelayElapsedCallback(TIM_HandleTypeDef *htim2)
		if(TIMER->Instance==TIM3)
			{
				 HAL_TIM_OC_Stop_IT(TIMER, TIM_CHANNEL_1); //Paro el timer
				 HAL_GPIO_WritePin(GPIOA, GPIO_PIN_1, 0);
				 FLAG_UART2=1;
				 EN_UART2_TMR=0;
				 UART2_RX_items=UART2_RX_pos;
				 UART2_RX_pos=0;
				 UART2_RX_vect[512]='\0'; //Finalizo el vector a la fuerza ya que recibo hasta 124
				 CopiaVector(lr.rxbuff,UART2_RX_vect,UART2_RX_items,1,CMP_VECT);
				 lr.rxitems=UART2_RX_items;
				 HAL_UART_Receive_IT(&huart2,(uint8_t *)UART2_RX_byte,1); //Habilito le recepcón de puerto serie al terminar
				 if (UART2_DBG_EN==1)
				 {
					 ITM0_Write("\r\nData LoRa recibida = ",strlen("\r\nData LoRa recibida = "));
					 ITM0_Write((uint8_t *)UART2_RX_vect,UART2_RX_items);
					 ITM0_Write("\r\n",strlen("\r\n"));
				 }
		}
}

/* USER CODE END 4 */

void Error_Handler(void)
{
  __disable_irq();
  while (1)
  {
  }
}
